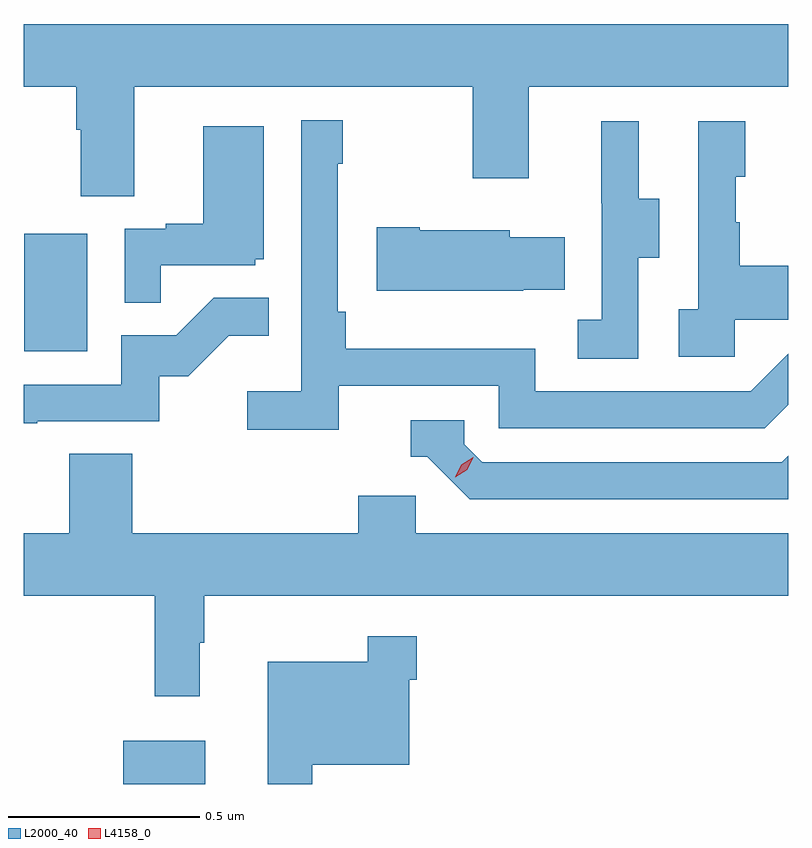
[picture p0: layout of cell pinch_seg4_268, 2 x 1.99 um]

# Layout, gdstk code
import gdstk
lib = gdstk.Library(unit=1e-6, precision=1e-09)
def R(c, l, rs):  # rectangles x0, y0, x1, y1
    for r in rs: c.add(gdstk.rectangle(r[:2], r[2:], *l))
def P(c, l, *ps):  # polygons
    for p in ps: c.add(gdstk.Polygon(p, *l))
L2000_40 = (2000, 40)
L4158_0 = (4158, 0)

pinch_seg4_268 = lib.new_cell('pinch_seg4_268')
R(pinch_seg4_268, L2000_40, [(925.928,814.976,926.143,815.089), (925.67,816.108,925.834,816.415)])
P(pinch_seg4_268, L2000_40, [(925.957,816.8),(926.842,816.8),(926.842,816.561),(926.989,816.561),(926.989,816.8),(927.668,816.8),(927.668,816.964),(925.668,816.964),(925.668,816.8),(925.805,816.8),(925.805,816.688),(925.817,816.688),(925.817,816.514),(925.957,816.514)],
  [(926.492,816.018),(926.91,816.018),(926.91,815.907),(927.607,815.907),(927.668,815.968),(927.668,816.101),(927.57,816.003),(927.006,816.003),(927.006,816.115),(926.51,816.115),(926.51,816.211),(926.49,816.211),(926.49,816.599),(926.503,816.599),(926.503,816.712),(926.394,816.712),(926.394,816.004),(926.253,816.004),(926.253,815.902),(926.492,815.902)],
  [(927.528,816.191),(927.668,816.191),(927.668,816.331),(927.541,816.331),(927.541,816.446),(927.531,816.446),(927.531,816.564),(927.556,816.564),(927.556,816.709),(927.432,816.709),(927.432,816.218),(927.381,816.218),(927.381,816.093),(927.528,816.093)],
  [(927.276,816.352),(927.331,816.352),(927.331,816.507),(927.277,816.507),(927.277,816.709),(927.179,816.709),(927.179,816.495),(927.18,816.495),(927.18,816.191),(927.117,816.191),(927.117,816.088),(927.276,816.088)],
  [(926.027,816.333),(926.274,816.333),(926.274,816.348),(926.296,816.348),(926.296,816.697),(926.138,816.697),(926.138,816.442),(926.039,816.442),(926.039,816.429),(925.932,816.429),(925.932,816.235),(926.027,816.235)],
  [(926.975,816.269),(927.083,816.269),(927.083,816.406),(926.94,816.406),(926.94,816.424),(926.704,816.424),(926.704,816.432),(926.592,816.432),(926.592,816.266),(926.975,816.266)],
  [(925.703,815.925),(926.022,815.925),(926.022,816.042),(926.098,816.042),(926.205,816.149),(926.309,816.149),(926.309,816.248),(926.165,816.248),(926.067,816.15),(925.923,816.15),(925.923,816.021),(925.668,816.021),(925.668,815.92),(925.703,815.92)],
  [(927.668,815.834),(927.651,815.817),(926.868,815.817),(926.82,815.865),(926.82,815.928),(926.681,815.928),(926.681,815.832),(926.724,815.832),(926.835,815.721),(927.668,815.721)],
  [(926.128,815.345),(926.14,815.345),(926.14,815.468),(927.668,815.468),(927.668,815.632),(926.694,815.632),(926.694,815.73),(926.543,815.73),(926.543,815.632),(925.952,815.632),(925.952,815.84),(925.787,815.84),(925.787,815.632),(925.668,815.632),(925.668,815.468),(926.011,815.468),(926.011,815.205),(926.128,815.205)],
  [(926.423,815.027),(926.676,815.027),(926.676,815.249),(926.696,815.249),(926.696,815.362),(926.568,815.362),(926.568,815.296),(926.306,815.296),(926.306,814.976),(926.423,814.976)])
P(pinch_seg4_268, L4158_0, [(926.797,815.778),(926.797,815.779),(926.813,815.811),(926.844,815.831),(926.844,815.831),(926.844,815.831),(926.828,815.798),(926.797,815.778)])

lib.write_gds('pinch_seg4_268.gds')
